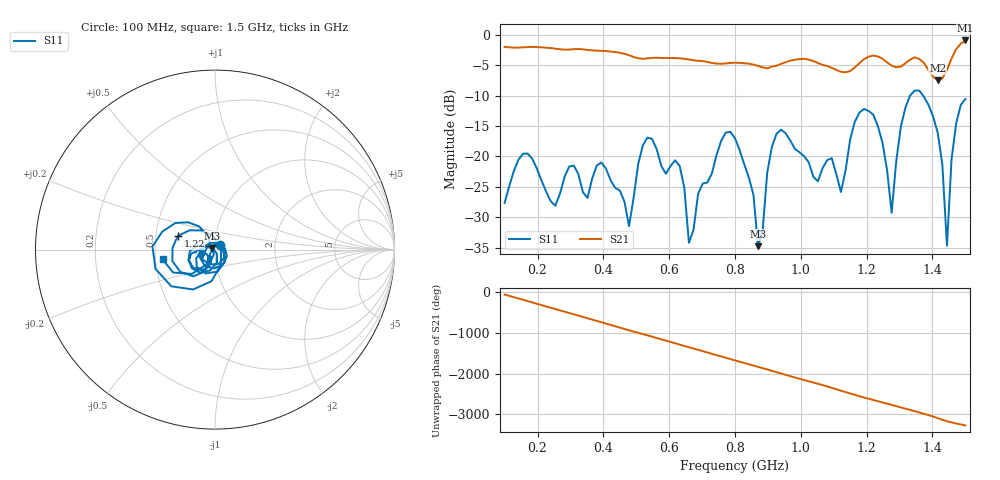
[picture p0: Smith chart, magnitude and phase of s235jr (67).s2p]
! NanoVNA-App
! Date: 2025-09-26 09:45:18
! Start: 100MHz Stop: 1,5GHz Points: 101
! S-Parameter data: F S11 S21 S12 S22
# Hz S RI R 50
!  Frequency  S11_Real  S11_Imag  S21_Real  S21_Imag  S12_Real  S12_Imag  S22_Real  S22_Imag
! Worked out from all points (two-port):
!   101 points, 100 MHz to 1.5 GHz, reference 50 ohm
!   highest |S21| = -0.90 dB at 1.5 GHz (marker M1); lowest = -7.5 dB at 1.416 GHz (marker M2)
!   |S21| within 3 dB of the highest: start of sweep to 516.5 MHz; 524.6 MHz to 642.1 MHz (117.4 MHz wide, 20.1 % of centre) (the widest 2 of 5)
!   lowest |S11| = -34.8 dB at 870 MHz (marker M3), VSWR 1.04, Z = 48.5 + j0.949 ohm
!   |S11| at or under -10 dB: start of sweep to 1.332 GHz; 1.372 GHz to end of sweep
!   S12 and S22 are empty: the file has one direction only
!   S11 on the Smith chart (normalised r, x): 100 MHz: 1.06, +0.06; 1.22 GHz: 0.65, +0.10; 1.5 GHz: 0.55, -0.07
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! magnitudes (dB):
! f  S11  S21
! 100 MHz  -27.6  -2.0
! 156 MHz  -19.5  -2.0
! 338 MHz  -25.9  -2.4
! 394 MHz  -21.0  -2.6
! 478 MHz  -31.5  -3.3
! 520 MHz  -18.2  -3.9
! 576 MHz  -21.5  -3.8
! 632 MHz  -21.6  -3.8
! 660 MHz  -34.2  -4.0
! 800 MHz  -17.0  -4.6
! 870 MHz  -34.8  -5.1
! 926 MHz  -16.3  -5.1
! 1.038 GHz  -23.4  -4.3
! 1.122 GHz  -25.9  -6.1
! 1.164 GHz  -14.3  -5.3
! 1.22 GHz  -13.1  -3.4
! 1.276 GHz  -29.3  -5.1
! 1.332 GHz  -10.0  -4.1
! 1.416 GHz  -16.1  -7.5
! 1.444 GHz  -34.7  -5.7
! 1.458 GHz  -20.4  -3.9
! 1.5 GHz  -10.5  -0.9
